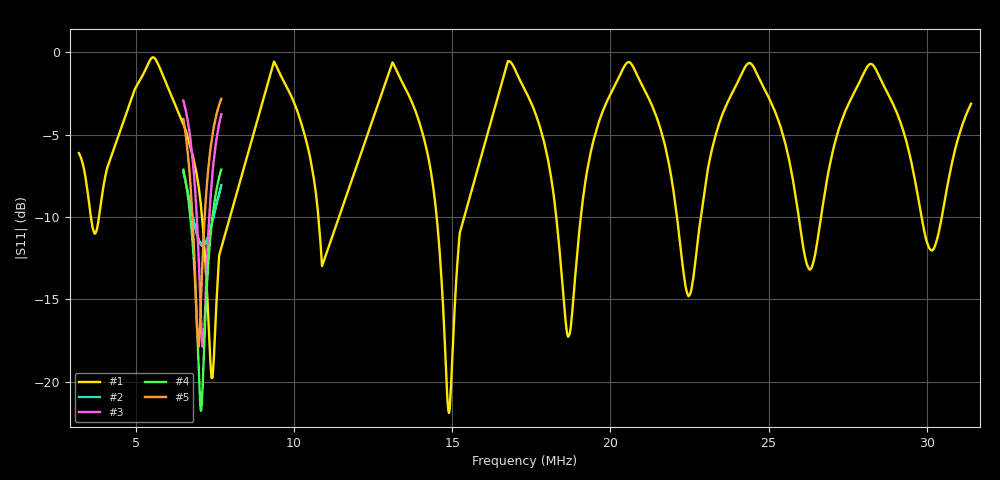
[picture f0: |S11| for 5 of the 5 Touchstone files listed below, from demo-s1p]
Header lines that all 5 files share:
# HZ S RI R 50
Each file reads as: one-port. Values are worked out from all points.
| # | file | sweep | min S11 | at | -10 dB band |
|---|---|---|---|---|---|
| 1 | demo_boucle_83m_80-10m.s1p | 3.2 MHz to 31.4 MHz | -21.9 dB | 14.9 MHz | 775.9 kHz wide |
| 2 | demo_boucle_delta_40m_balun_4-1.s1p | 6.5 MHz to 7.7 MHz | -11.7 dB | 7.088 MHz | 648.7 kHz wide |
| 3 | demo_dipole_40m_accorde.s1p | 6.5 MHz to 7.7 MHz | -17.9 dB | 7.106 MHz | 393.4 kHz wide |
| 4 | demo_dipole_40m_coax_mouille.s1p | 6.5 MHz to 7.7 MHz | -21.8 dB | 7.052 MHz | 700.4 kHz wide |
| 5 | demo_dipole_40m_trop_long.s1p | 6.5 MHz to 7.7 MHz | -17.9 dB | 6.98 MHz | 385.7 kHz wide |
